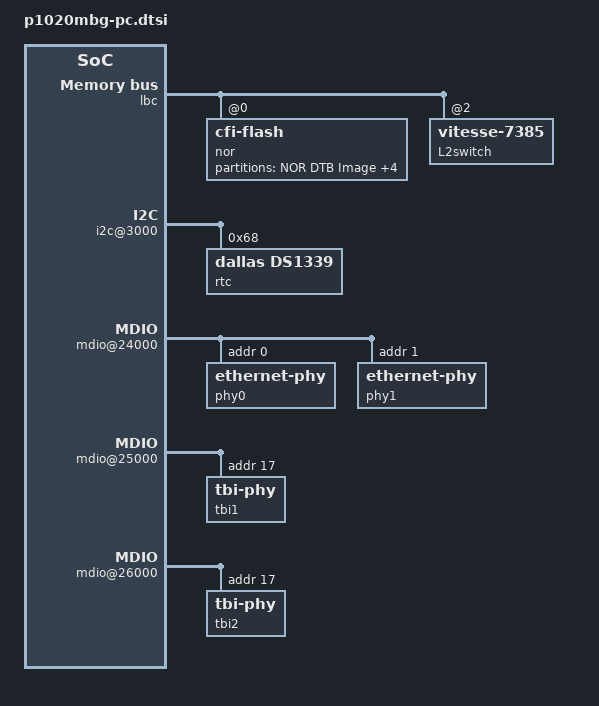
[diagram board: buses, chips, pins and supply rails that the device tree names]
/*
 * P1020 MBG-PC Device Tree Source stub (no addresses or top-level ranges)
 *
 * Copyright 2012 Freescale Semiconductor Inc.
 *
 * Redistribution and use in source and binary forms, with or without
 * modification, are permitted provided that the following conditions are met:
 *     * Redistributions of source code must retain the above copyright
 *       notice, this list of conditions and the following disclaimer.
 *     * Redistributions in binary form must reproduce the above copyright
 *       notice, this list of conditions and the following disclaimer in the
 *       documentation and/or other materials provided with the distribution.
 *     * Neither the name of Freescale Semiconductor nor the
 *       names of its contributors may be used to endorse or promote products
 *       derived from this software without specific prior written permission.
 *
 *
 * ALTERNATIVELY, this software may be distributed under the terms of the
 * GNU General Public License ("GPL") as published by the Free Software
 * Foundation, either version 2 of that License or (at your option) any
 * later version.
 *
 * THIS SOFTWARE IS PROVIDED BY Freescale Semiconductor ``AS IS'' AND ANY
 * EXPRESS OR IMPLIED WARRANTIES, INCLUDING, BUT NOT LIMITED TO, THE IMPLIED
 * WARRANTIES OF MERCHANTABILITY AND FITNESS FOR A PARTICULAR PURPOSE ARE
 * DISCLAIMED. IN NO EVENT SHALL Freescale Semiconductor BE LIABLE FOR ANY
 * DIRECT, INDIRECT, INCIDENTAL, SPECIAL, EXEMPLARY, OR CONSEQUENTIAL DAMAGES
 * (INCLUDING, BUT NOT LIMITED TO, PROCUREMENT OF SUBSTITUTE GOODS OR SERVICES;
 * LOSS OF USE, DATA, OR PROFITS; OR BUSINESS INTERRUPTION) HOWEVER CAUSED AND
 * ON ANY THEORY OF LIABILITY, WHETHER IN CONTRACT, STRICT LIABILITY, OR TORT
 * (INCLUDING NEGLIGENCE OR OTHERWISE) ARISING IN ANY WAY OUT OF THE USE OF THIS
 * SOFTWARE, EVEN IF ADVISED OF THE POSSIBILITY OF SUCH DAMAGE.
 */

&lbc {
	nor@0,0 {
		#address-cells = <1>;
		#size-cells = <1>;
		compatible = "cfi-flash";
		reg = <0x0 0x0 0x4000000>;
		bank-width = <2>;
		device-width = <1>;

		partition@0 {
			/* 128KB for DTB Image */
			reg = <0x0 0x00020000>;
			label = "NOR DTB Image";
		};

		partition@20000 {
			/* 3.875 MB for Linux Kernel Image */
			reg = <0x00020000 0x003e0000>;
			label = "NOR Linux Kernel Image";
		};

		partition@400000 {
			/* 58MB for Root file System */
			reg = <0x00400000 0x03a00000>;
			label = "NOR Root File System";
		};

		partition@3e00000 {
			/* This location must not be altered  */
			/* 1M for Vitesse 7385 Switch firmware */
			reg = <0x3e00000 0x00100000>;
			label = "NOR Vitesse-7385 Firmware";
			read-only;
		};

		partition@3f00000 {
			/* This location must not be altered  */
			/* 512KB for u-boot Bootloader Image */
			/* 512KB for u-boot Environment Variables */
			reg = <0x03f00000 0x00100000>;
			label = "NOR U-Boot Image";
			read-only;
		};
	};

	L2switch@2,0 {
		#address-cells = <1>;
		#size-cells = <1>;
		compatible = "vitesse-7385";
		reg = <0x2 0x0 0x20000>;
	};
};

&soc {
	i2c@3000 {
		rtc@68 {
			compatible = "dallas,ds1339";
			reg = <0x68>;
		};
	};

	mdio@24000 {
		phy0: ethernet-phy@0 {
			interrupts = <3 1 0 0>;
			reg = <0x0>;
		};
		phy1: ethernet-phy@1 {
			interrupts = <2 1 0 0>;
			reg = <0x1>;
		};
	};

	mdio@25000 {
		tbi1: tbi-phy@11 {
			reg = <0x11>;
			device_type = "tbi-phy";
		};
	};

	mdio@26000 {
		tbi2: tbi-phy@11 {
			reg = <0x11>;
			device_type = "tbi-phy";
		};
	};

	enet0: ethernet@b0000 {
		fixed-link = <1 1 1000 0 0>;
		phy-connection-type = "rgmii-id";
	};

	enet1: ethernet@b1000 {
		phy-handle = <&phy0>;
		tbi-handle = <&tbi1>;
		phy-connection-type = "sgmii";
	};

	enet2: ethernet@b2000 {
		phy-handle = <&phy1>;
		phy-connection-type = "rgmii-id";
	};

	usb@22000 {
		phy_type = "ulpi";
	};

	/* USB2 is shared with localbus, so it must be disabled
	   by default. We can't put 'status = "disabled";' here
	   since U-Boot doesn't clear the status property when
	   it enables USB2. OTOH, U-Boot does create a new node
	   when there isn't any. So, just comment it out.
	*/
	usb@23000 {
		status = "disabled";
		phy_type = "ulpi";
	};
};
